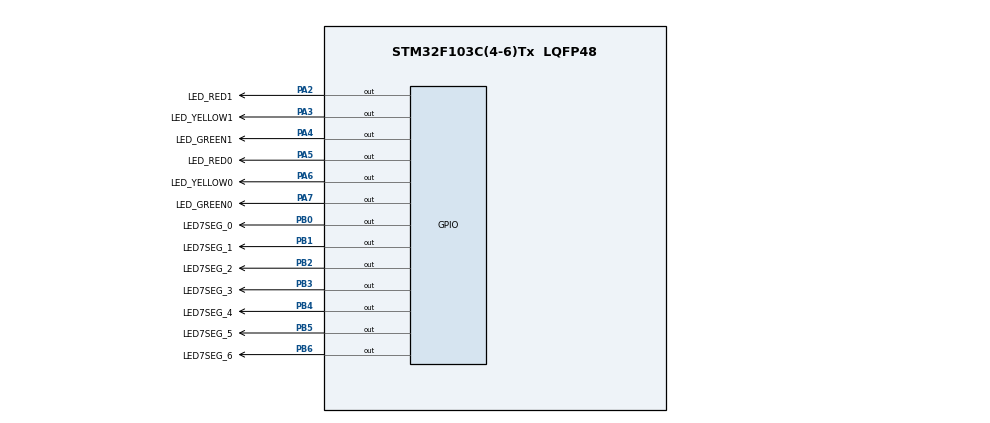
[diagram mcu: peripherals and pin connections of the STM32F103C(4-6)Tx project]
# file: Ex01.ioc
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Mcu.Family=STM32F1
Mcu.Name=STM32F103C(4-6)Tx
Mcu.Package=LQFP48
NVIC.PriorityGroup=NVIC_PRIORITYGROUP_4
PA13.Mode=Serial_Wire
PA13.Signal=SYS_JTMS-SWDIO
PA14.Mode=Serial_Wire
PA14.Signal=SYS_JTCK-SWCLK
PA2.GPIO_Label=LED_RED1
PA2.Signal=GPIO_Output
PA3.GPIO_Label=LED_YELLOW1
PA3.Signal=GPIO_Output
PA4.GPIO_Label=LED_GREEN1
PA4.Signal=GPIO_Output
PA5.GPIO_Label=LED_RED0
PA5.Signal=GPIO_Output
PA6.GPIO_Label=LED_YELLOW0
PA6.Signal=GPIO_Output
PA7.GPIO_Label=LED_GREEN0
PA7.Signal=GPIO_Output
PB0.GPIO_Label=LED7SEG_0
PB0.Signal=GPIO_Output
PB1.GPIO_Label=LED7SEG_1
PB1.Signal=GPIO_Output
PB2.GPIO_Label=LED7SEG_2
PB2.Signal=GPIO_Output
PB3.GPIO_Label=LED7SEG_3
PB3.Signal=GPIO_Output
PB4.GPIO_Label=LED7SEG_4
PB4.Signal=GPIO_Output
PB5.GPIO_Label=LED7SEG_5
PB5.Signal=GPIO_Output
PB6.GPIO_Label=LED7SEG_6
PB6.Signal=GPIO_Output
ProjectManager.HeapSize=0x200
ProjectManager.StackSize=0x400
ProjectManager.TargetToolchain=STM32CubeIDE
RCC.APB1Freq_Value=8000000
RCC.APB2Freq_Value=8000000
board=custom

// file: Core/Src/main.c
/* USER CODE BEGIN Header */
/**
  ******************************************************************************
  * @file           : main.c
  * @brief          : Main program body
  ******************************************************************************
  * @attention
  *
  * <h2><center>&copy; Copyright (c) 2021 STMicroelectronics.
  * All rights reserved.</center></h2>
  *
  * This software component is licensed by ST under BSD 3-Clause license,
  * the "License"; You may not use this file except in compliance with the
  * License. You may obtain a copy of the License at:
  *                        opensource.org/licenses/BSD-3-Clause
  *
  ******************************************************************************
  */
/* USER CODE END Header */
#include "main.h"

void SystemClock_Config(void);
static void MX_GPIO_Init(void);

void display7SEG(int num){

	char led7seg[10] = {0xC0, 0xF9, 0xA4, 0xB0, 0x99, 0x92, 0x82, 0xF8, 0x80, 0x90};
	for (int i = 0; i < 7; i++){
		HAL_GPIO_WritePin(GPIOB, GPIO_PIN_0 << i, (led7seg[num] >> i) & 1);
	}
}
int main(void)
{

  /* MCU Configuration--------------------------------------------------------*/

  /* Reset of all peripherals, Initializes the Flash interface and the Systick. */
  HAL_Init();

  /* Configure the system clock */
  SystemClock_Config();

  /* Initialize all configured peripherals */
  MX_GPIO_Init();

  /* Infinite loop */
  /* USER CODE BEGIN WHILE */

  //HAL_GPIO_WritePin(LED_RED_GPIO_Port, LED_RED_Pin, GPIO_PIN_SET);
  //HAL_GPIO_WritePin(LED_YELLOW_GPIO_Port, LED_YELLOW_Pin, GPIO_PIN_RESET);
  HAL_GPIO_WritePin(LED_RED0_GPIO_Port, LED_RED0_Pin, GPIO_PIN_SET);
  HAL_GPIO_WritePin(LED_YELLOW0_GPIO_Port, LED_YELLOW0_Pin, GPIO_PIN_SET);
  HAL_GPIO_WritePin(LED_GREEN0_GPIO_Port, LED_GREEN0_Pin, GPIO_PIN_SET);
  HAL_GPIO_WritePin(LED_RED1_GPIO_Port, LED_RED1_Pin, GPIO_PIN_SET);
  HAL_GPIO_WritePin(LED_YELLOW1_GPIO_Port, LED_YELLOW1_Pin, GPIO_PIN_SET);
  HAL_GPIO_WritePin(LED_GREEN1_GPIO_Port, LED_GREEN1_Pin, GPIO_PIN_SET);
  int sec = 0;

  while (1)
  {
    /* USER CODE END WHILE */

    /* USER CODE BEGIN 3 */
	 /*
	  * EXERCISE 1
	  HAL_Delay(2000);
	  HAL_GPIO_TogglePin(LED_RED_GPIO_Port, LED_RED_Pin);
	  HAL_GPIO_TogglePin(LED_YELLOW_GPIO_Port, LED_YELLOW_Pin);
	  */
	  switch(sec++){
	  case 0:
	  {
		  HAL_GPIO_WritePin(LED_YELLOW0_GPIO_Port, LED_YELLOW0_Pin, GPIO_PIN_SET);
		  HAL_GPIO_WritePin(LED_RED0_GPIO_Port, LED_RED0_Pin, GPIO_PIN_RESET);

		  HAL_GPIO_WritePin(LED_RED1_GPIO_Port, LED_RED1_Pin, GPIO_PIN_SET);
		  HAL_GPIO_WritePin(LED_GREEN1_GPIO_Port, LED_GREEN1_Pin, GPIO_PIN_RESET);

		  break;
	  }
	  case 3:
	  {
		  HAL_GPIO_WritePin(LED_YELLOW1_GPIO_Port, LED_YELLOW1_Pin, GPIO_PIN_RESET);
		  HAL_GPIO_WritePin(LED_GREEN1_GPIO_Port, LED_GREEN1_Pin, GPIO_PIN_SET);
		  break;
	  }
	  case 5:
	  {
		  HAL_GPIO_WritePin(LED_RED0_GPIO_Port, LED_RED0_Pin, GPIO_PIN_SET);
		  HAL_GPIO_WritePin(LED_GREEN0_GPIO_Port, LED_GREEN0_Pin, GPIO_PIN_RESET);

		  HAL_GPIO_WritePin(LED_RED1_GPIO_Port, LED_RED1_Pin, GPIO_PIN_RESET);
		  HAL_GPIO_WritePin(LED_YELLOW1_GPIO_Port, LED_YELLOW1_Pin, GPIO_PIN_SET);
		  break;
	  }
	  case 8:
	  {
		  HAL_GPIO_WritePin(LED_GREEN0_GPIO_Port, LED_GREEN0_Pin, GPIO_PIN_SET);
		  HAL_GPIO_WritePin(LED_YELLOW0_GPIO_Port, LED_YELLOW0_Pin, GPIO_PIN_RESET);
		  break;
	  }
	  }

	  if (sec - 6 < 0)
		  display7SEG(5 - sec);
	  else if (sec - 9 < 0)
		  display7SEG(8 - sec);
	  else
		  display7SEG(10 - sec);
	  if( sec >= 10) sec = 0;
	  HAL_Delay(1000);
  }
  /* USER CODE END 3 */
}

void SystemClock_Config(void)
{
  RCC_OscInitTypeDef RCC_OscInitStruct = {0};
  RCC_ClkInitTypeDef RCC_ClkInitStruct = {0};

  /** Initializes the RCC Oscillators according to the specified parameters
  * in the RCC_OscInitTypeDef structure.
  */
  RCC_OscInitStruct.OscillatorType = RCC_OSCILLATORTYPE_HSI;
  RCC_OscInitStruct.HSIState = RCC_HSI_ON;
  RCC_OscInitStruct.HSICalibrationValue = RCC_HSICALIBRATION_DEFAULT;
  RCC_OscInitStruct.PLL.PLLState = RCC_PLL_NONE;
  if (HAL_RCC_OscConfig(&RCC_OscInitStruct) != HAL_OK)
  {
    Error_Handler();
  }
  /** Initializes the CPU, AHB and APB buses clocks
  */
  RCC_ClkInitStruct.ClockType = RCC_CLOCKTYPE_HCLK|RCC_CLOCKTYPE_SYSCLK
                              |RCC_CLOCKTYPE_PCLK1|RCC_CLOCKTYPE_PCLK2;
  RCC_ClkInitStruct.SYSCLKSource = RCC_SYSCLKSOURCE_HSI;
  RCC_ClkInitStruct.AHBCLKDivider = RCC_SYSCLK_DIV1;
  RCC_ClkInitStruct.APB1CLKDivider = RCC_HCLK_DIV1;
  RCC_ClkInitStruct.APB2CLKDivider = RCC_HCLK_DIV1;

  if (HAL_RCC_ClockConfig(&RCC_ClkInitStruct, FLASH_LATENCY_0) != HAL_OK)
  {
    Error_Handler();
  }
}

static void MX_GPIO_Init(void)
{
  GPIO_InitTypeDef GPIO_InitStruct = {0};

  /* GPIO Ports Clock Enable */
  __HAL_RCC_GPIOA_CLK_ENABLE();
  __HAL_RCC_GPIOB_CLK_ENABLE();

  /*Configure GPIO pin Output Level */
  HAL_GPIO_WritePin(GPIOA, LED_RED1_Pin|LED_YELLOW1_Pin|LED_GREEN1_Pin|LED_RED0_Pin
                          |LED_YELLOW0_Pin|LED_GREEN0_Pin, GPIO_PIN_RESET);

  /*Configure GPIO pin Output Level */
  HAL_GPIO_WritePin(GPIOB, LED7SEG_0_Pin|LED7SEG_1_Pin|LED7SEG_2_Pin|LED7SEG_3_Pin
                          |LED7SEG_4_Pin|LED7SEG_5_Pin|LED7SEG_6_Pin, GPIO_PIN_RESET);

  /*Configure GPIO pins : LED_RED1_Pin LED_YELLOW1_Pin LED_GREEN1_Pin LED_RED0_Pin
                           LED_YELLOW0_Pin LED_GREEN0_Pin */
  GPIO_InitStruct.Pin = LED_RED1_Pin|LED_YELLOW1_Pin|LED_GREEN1_Pin|LED_RED0_Pin
                          |LED_YELLOW0_Pin|LED_GREEN0_Pin;
  GPIO_InitStruct.Mode = GPIO_MODE_OUTPUT_PP;
  GPIO_InitStruct.Pull = GPIO_NOPULL;
  GPIO_InitStruct.Speed = GPIO_SPEED_FREQ_LOW;
  HAL_GPIO_Init(GPIOA, &GPIO_InitStruct);

  /*Configure GPIO pins : LED7SEG_0_Pin LED7SEG_1_Pin LED7SEG_2_Pin LED7SEG_3_Pin
                           LED7SEG_4_Pin LED7SEG_5_Pin LED7SEG_6_Pin */
  GPIO_InitStruct.Pin = LED7SEG_0_Pin|LED7SEG_1_Pin|LED7SEG_2_Pin|LED7SEG_3_Pin
                          |LED7SEG_4_Pin|LED7SEG_5_Pin|LED7SEG_6_Pin;
  GPIO_InitStruct.Mode = GPIO_MODE_OUTPUT_PP;
  GPIO_InitStruct.Pull = GPIO_NOPULL;
  GPIO_InitStruct.Speed = GPIO_SPEED_FREQ_LOW;
  HAL_GPIO_Init(GPIOB, &GPIO_InitStruct);

}

void Error_Handler(void)
{
  __disable_irq();
  while (1)
  {
  }
}

/************************ (C) COPYRIGHT STMicroelectronics *****END OF FILE****/
